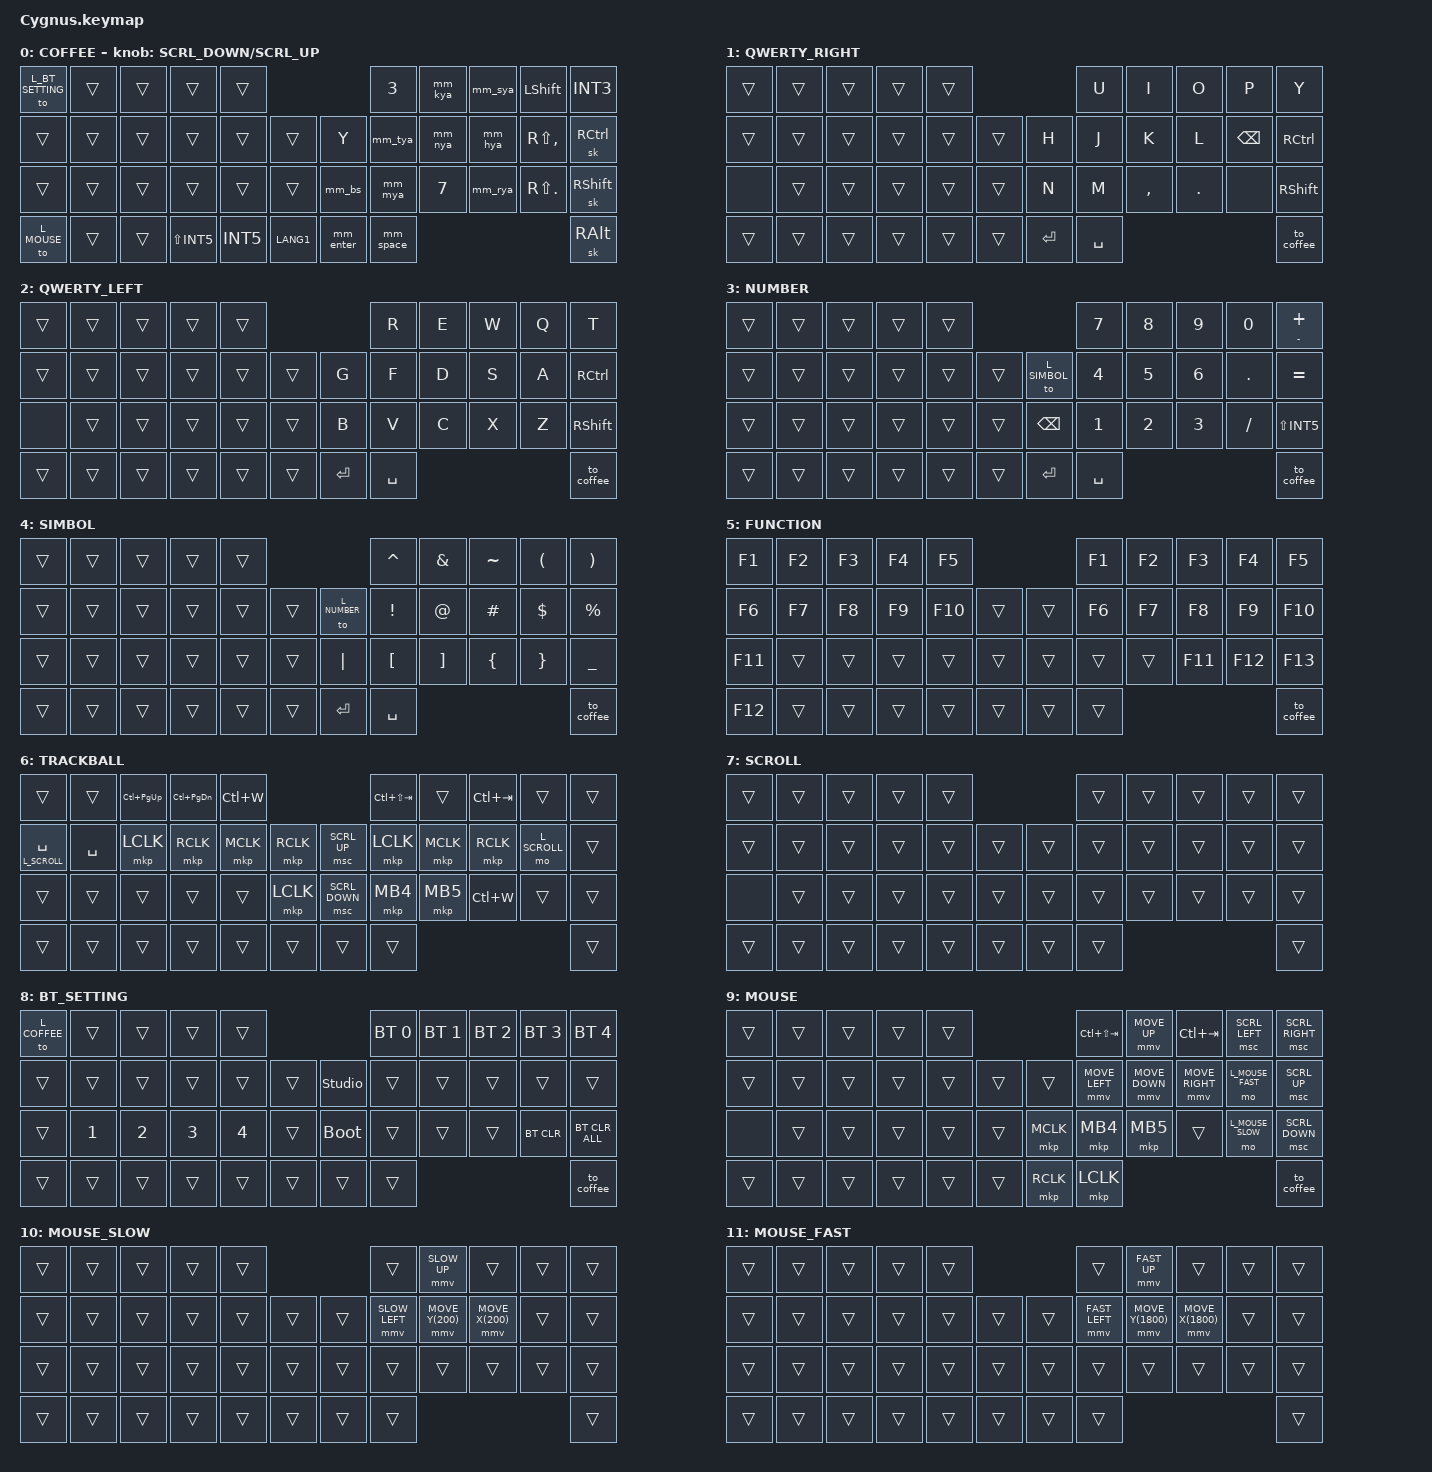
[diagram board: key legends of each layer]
#define ZMK_POINTING_DEFAULT_SCRL_VAL 120    // default: 10

#include <behaviors.dtsi>
#include <dt-bindings/zmk/bt.h>
#include <dt-bindings/zmk/keys.h>
#include <dt-bindings/zmk/pointing.h>

// 珈琲配列
#define L_COFFEE                  0
#define L_QWERTY_RIGHT            1
#define L_QWERTY_LEFT             2
#define L_NUMBER                  3
#define L_SIMBOL                  4
#define L_FUNCTION                5
#define L_TRACKBALL               6
#define L_SCROLL                  7
#define L_BT_SETTING              8

// マウスレイヤー
#define L_MOUSE                   9
#define L_MOUSE_SLOW             10
#define L_MOUSE_FAST             11

// カーソル速度（標準は MOVE_UP 等の 600）
#define SLOW_UP     MOVE_Y(-200)
#define SLOW_DOWN   MOVE_Y(200)
#define SLOW_LEFT   MOVE_X(-200)
#define SLOW_RIGHT  MOVE_X(200)

#define FAST_UP     MOVE_Y(-1800)
#define FAST_DOWN   MOVE_Y(1800)
#define FAST_LEFT   MOVE_X(-1800)
#define FAST_RIGHT  MOVE_X(1800)

// 拗音の小書き文字（JISかな: Shift+7/8/9）
#define SM_YA  RS(N7)                 // ゃ
#define SM_YU  RS(N8)                 // ゅ
#define SM_YO  RS(N9)                 // ょ



&mt {
    flavor = "balanced";
    quick-tap-ms = <0>;
};

/ {



    combos {
        compatible = "zmk,combos";

    // ---- 50音 ----
    // ---- あ行 (5) ----
        combo_i {
            timeout-ms    = <50>;
            key-positions = <5 40>;             // 5 + 40 → い
            bindings      = <&kp E>;
            layers        = <L_COFFEE>;
        };
        combo_u {
            timeout-ms    = <50>;
            key-positions = <5 20>;             // 5 + 20 → う
            bindings      = <&kp N4>;
            layers        = <L_COFFEE>;
        };
        combo_e {
            timeout-ms    = <50>;
            key-positions = <5 41>;             // 5 + 41 → え
            bindings      = <&kp N5>;
            layers        = <L_COFFEE>;
        };
        combo_o {
            timeout-ms    = <50>;
            key-positions = <5 32>;             // 5 + 32 → お
            bindings      = <&kp N6>;
            layers        = <L_COFFEE>;
        };

    // ---- か行 (6) ----
        combo_ki {
            timeout-ms    = <50>;
            key-positions = <6 40>;             // 6 + 40 → き
            bindings      = <&kp G>;
            layers        = <L_COFFEE>;
        };
        combo_ku {
            timeout-ms    = <50>;
            key-positions = <6 20>;             // 6 + 20 → く / 右Shift待機: きゅ
            bindings      = <&mm_kyu>;
            layers        = <L_COFFEE>;
        };
        combo_ke {
            timeout-ms    = <50>;
            key-positions = <6 41>;             // 6 + 41 → け
            bindings      = <&kp SQT>;
            layers        = <L_COFFEE>;
        };
        combo_ko {
            timeout-ms    = <50>;
            key-positions = <6 32>;             // 6 + 32 → こ / 右Shift待機: きょ
            bindings      = <&mm_kyo>;
            layers        = <L_COFFEE>;
        };

    // ---- さ行 (7) ----
        combo_shi {
            timeout-ms    = <50>;
            key-positions = <7 40>;             // 7 + 40 → し
            bindings      = <&kp D>;
            layers        = <L_COFFEE>;
        };
        combo_su {
            timeout-ms    = <50>;
            key-positions = <7 20>;             // 7 + 20 → す / 右Shift待機: しゅ
            bindings      = <&mm_syu>;
            layers        = <L_COFFEE>;
        };
        combo_se {
            timeout-ms    = <50>;
            key-positions = <7 41>;             // 7 + 41 → せ
            bindings      = <&kp P>;
            layers        = <L_COFFEE>;
        };
        combo_so {
            timeout-ms    = <50>;
            key-positions = <7 32>;             // 7 + 32 → そ / 右Shift待機: しょ
            bindings      = <&mm_syo>;
            layers        = <L_COFFEE>;
        };

    // ---- た行 (17) ----
        combo_chi {
            timeout-ms    = <50>;
            key-positions = <17 40>;            // 17 + 40 → ち
            bindings      = <&kp A>;
            layers        = <L_COFFEE>;
        };
        combo_tsu {
            timeout-ms    = <50>;
            key-positions = <17 20>;            // 17 + 20 → つ / 右Shift待機: ちゅ
            bindings      = <&mm_tyu>;
            layers        = <L_COFFEE>;
        };
        combo_te {
            timeout-ms    = <50>;
            key-positions = <17 41>;            // 17 + 41 → て
            bindings      = <&kp W>;
            layers        = <L_COFFEE>;
        };
        combo_to {
            timeout-ms    = <50>;
            key-positions = <17 32>;            // 17 + 32 → と / 右Shift待機: ちょ
            bindings      = <&mm_tyo>;
            layers        = <L_COFFEE>;
        };

    // ---- な行 (18) ----
        combo_ni {
            timeout-ms    = <50>;
            key-positions = <18 40>;            // 18 + 40 → に
            bindings      = <&kp I>;
            layers        = <L_COFFEE>;
        };
        combo_nu {
            timeout-ms    = <50>;
            key-positions = <18 20>;            // 18 + 20 → ぬ / 右Shift待機: にゅ
            bindings      = <&mm_nyu>;
            layers        = <L_COFFEE>;
        };
        combo_ne {
            timeout-ms    = <50>;
            key-positions = <18 41>;            // 18 + 41 → ね
            bindings      = <&kp COMMA>;
            layers        = <L_COFFEE>;
        };
        combo_no {
            timeout-ms    = <50>;
            key-positions = <18 32>;            // 18 + 32 → の / 右Shift待機: にょ
            bindings      = <&mm_nyo>;
            layers        = <L_COFFEE>;
        };

    // ---- は行 (19) ----
        combo_hi {
            timeout-ms    = <50>;
            key-positions = <19 40>;            // 19 + 40 → ひ
            bindings      = <&kp V>;
            layers        = <L_COFFEE>;
        };
        combo_fu {
            timeout-ms    = <50>;
            key-positions = <19 20>;            // 19 + 20 → ふ / 右Shift待機: ひゅ
            bindings      = <&mm_hyu>;
            layers        = <L_COFFEE>;
        };
        combo_he {
            timeout-ms    = <50>;
            key-positions = <19 41>;            // 19 + 41 → へ
            bindings      = <&kp EQUAL>;
            layers        = <L_COFFEE>;
        };
        combo_ho {
            timeout-ms    = <50>;
            key-positions = <19 32>;            // 19 + 32 → ほ / 右Shift待機: ひょ
            bindings      = <&mm_hyo>;
            layers        = <L_COFFEE>;
        };

    // ---- ま行 (29) ----
        combo_mi {
            timeout-ms    = <50>;
            key-positions = <29 40>;            // 29 + 40 → み
            bindings      = <&kp N>;
            layers        = <L_COFFEE>;
        };
        combo_mu {
            timeout-ms    = <50>;
            key-positions = <29 20>;            // 29 + 20 → む / 右Shift待機: みゅ
            bindings      = <&mm_myu>;
            layers        = <L_COFFEE>;
        };
        combo_me {
            timeout-ms    = <50>;
            key-positions = <29 41>;            // 29 + 41 → め
            bindings      = <&kp SLASH>;
            layers        = <L_COFFEE>;
        };
        combo_mo {
            timeout-ms    = <50>;
            key-positions = <29 32>;            // 29 + 32 → も / 右Shift待機: みょ
            bindings      = <&mm_myo>;
            layers        = <L_COFFEE>;
        };

    // ---- や行 (30) ----
        combo_yu {
            timeout-ms    = <50>;
            key-positions = <30 20>;            // 30 + 20 → ゆ
            bindings      = <&kp N8>;
            layers        = <L_COFFEE>;
        };
        combo_yo {
            timeout-ms    = <50>;
            key-positions = <30 32>;            // 30 + 32 → よ
            bindings      = <&kp N9>;
            layers        = <L_COFFEE>;
        };

    // ---- ら行 (31) ----
        combo_ri {
            timeout-ms    = <50>;
            key-positions = <31 40>;            // 31 + 40 → り
            bindings      = <&kp L>;
            layers        = <L_COFFEE>;
        };
        combo_ru {
            timeout-ms    = <50>;
            key-positions = <31 20>;            // 31 + 20 → る / 右Shift待機: りゅ
            bindings      = <&mm_ryu>;
            layers        = <L_COFFEE>;
        };
        combo_re {
            timeout-ms    = <50>;
            key-positions = <31 41>;            // 31 + 41 → れ
            bindings      = <&kp SEMICOLON>;
            layers        = <L_COFFEE>;
        };
        combo_ro {
            timeout-ms    = <50>;
            key-positions = <31 32>;            // 31 + 32 → ろ / 右Shift待機: りょ
            bindings      = <&mm_ryo>;
            layers        = <L_COFFEE>;
        };

    // ---- わ行：N0 ----
        combo_wa {
            timeout-ms    = <50>;
            key-positions = <16 40>;            // 16 + 40 → わ
            bindings      = <&kp N0>;
            layers        = <L_COFFEE>;
        };
        combo_wo {
            timeout-ms    = <50>;
            key-positions = <16 41>;            // 16 + 41 → を
            bindings      = <&kp RS(N0)>;
            layers        = <L_COFFEE>;
        };

    // ---- 濁点系：BACKSPACE (28) + 清音キー [+ 母音キー] ----
    // 母音キー: 40=い段(⏎) / 20=う段(、) / 41=え段(␣) / 32=お段(。)

    // ---- が行 (6) ----
        combo_ga {
            timeout-ms    = <50>;
            key-positions = <28 6>;             // 28 + 6 → が / 右Shift待機: ぎゃ
            bindings      = <&mm_gya>;
            layers        = <L_COFFEE>;
        };
        combo_gi {
            timeout-ms    = <50>;
            key-positions = <28 6 40>;          // 28 + 6 + 40 → ぎ
            bindings      = <&dkt G>;
            layers        = <L_COFFEE>;
        };
        combo_gu {
            timeout-ms    = <50>;
            key-positions = <28 6 20>;          // 28 + 6 + 20 → ぐ / 右Shift待機: ぎゅ
            bindings      = <&mm_gyu>;
            layers        = <L_COFFEE>;
        };
        combo_ge {
            timeout-ms    = <50>;
            key-positions = <28 6 41>;          // 28 + 6 + 41 → げ
            bindings      = <&dkt SQT>;
            layers        = <L_COFFEE>;
        };
        combo_go {
            timeout-ms    = <50>;
            key-positions = <28 6 32>;          // 28 + 6 + 32 → ご / 右Shift待機: ぎょ
            bindings      = <&mm_gyo>;
            layers        = <L_COFFEE>;
        };

    // ---- ざ行 (7) ----
        combo_za {
            timeout-ms    = <50>;
            key-positions = <28 7>;             // 28 + 7 → ざ / 右Shift待機: じゃ
            bindings      = <&mm_zya>;
            layers        = <L_COFFEE>;
        };
        combo_ji {
            timeout-ms    = <50>;
            key-positions = <28 7 40>;          // 28 + 7 + 40 → じ
            bindings      = <&dkt D>;
            layers        = <L_COFFEE>;
        };
        combo_zu {
            timeout-ms    = <50>;
            key-positions = <28 7 20>;          // 28 + 7 + 20 → ず / 右Shift待機: じゅ
            bindings      = <&mm_zyu>;
            layers        = <L_COFFEE>;
        };
        combo_ze {
            timeout-ms    = <50>;
            key-positions = <28 7 41>;          // 28 + 7 + 41 → ぜ
            bindings      = <&dkt P>;
            layers        = <L_COFFEE>;
        };
        combo_zo {
            timeout-ms    = <50>;
            key-positions = <28 7 32>;          // 28 + 7 + 32 → ぞ / 右Shift待機: じょ
            bindings      = <&mm_zyo>;
            layers        = <L_COFFEE>;
        };

    // ---- だ行 (17) ----
        combo_da {
            timeout-ms    = <50>;
            key-positions = <28 17>;            // 28 + 17 → だ / 右Shift待機: ぢゃ
            bindings      = <&mm_dya>;
            layers        = <L_COFFEE>;
        };
        combo_di {
            timeout-ms    = <50>;
            key-positions = <28 17 40>;         // 28 + 17 + 40 → ぢ
            bindings      = <&dkt A>;
            layers        = <L_COFFEE>;
        };
        combo_du {
            timeout-ms    = <50>;
            key-positions = <28 17 20>;         // 28 + 17 + 20 → づ / 右Shift待機: ぢゅ
            bindings      = <&mm_dyu>;
            layers        = <L_COFFEE>;
        };
        combo_de {
            timeout-ms    = <50>;
            key-positions = <28 17 41>;         // 28 + 17 + 41 → で
            bindings      = <&dkt W>;
            layers        = <L_COFFEE>;
        };
        combo_do {
            timeout-ms    = <50>;
            key-positions = <28 17 32>;         // 28 + 17 + 32 → ど / 右Shift待機: ぢょ
            bindings      = <&mm_dyo>;
            layers        = <L_COFFEE>;
        };

    // ---- ば行・ぱ行 (19) ※右Ctrl(sticky)を先に押すとぱ行 ----
        combo_ba {
            timeout-ms    = <50>;
            key-positions = <28 19>;            // 28 + 19 → ば / 右Ctrl待機: ぱ
            bindings      = <&mm_ba>;
            layers        = <L_COFFEE>;
        };
        combo_bi {
            timeout-ms    = <50>;
            key-positions = <28 19 40>;         // 28 + 19 + 40 → び / 右Ctrl待機: ぴ
            bindings      = <&mm_bi>;
            layers        = <L_COFFEE>;
        };
        combo_bu {
            timeout-ms    = <50>;
            key-positions = <28 19 20>;         // 28 + 19 + 20 → ぶ / 右Ctrl待機: ぷ
            bindings      = <&mm_bu>;
            layers        = <L_COFFEE>;
        };
        combo_be {
            timeout-ms    = <50>;
            key-positions = <28 19 41>;         // 28 + 19 + 41 → べ / 右Ctrl待機: ぺ
            bindings      = <&mm_be>;
            layers        = <L_COFFEE>;
        };
        combo_bo {
            timeout-ms    = <50>;
            key-positions = <28 19 32>;         // 28 + 19 + 32 → ぼ / 右Ctrl待機: ぽ
            bindings      = <&mm_bo>;
            layers        = <L_COFFEE>;
        };

    // ---- 濁点・半濁点：LSHFT (8) ----
        combo_dakuten {
            timeout-ms    = <50>;
            key-positions = <8 40>;             // 8 + 40 → ゛
            bindings      = <&kp LEFT_BRACKET>;
            layers        = <L_COFFEE>;
        };
        combo_handakuten {
            timeout-ms    = <50>;
            key-positions = <8 41>;             // 8 + 41 → ゜
            bindings      = <&kp RIGHT_BRACKET>;
            layers        = <L_COFFEE>;
        };

    // ---- 「 」：、(20) ----
        combo_kagi_open {
            timeout-ms    = <50>;
            key-positions = <20 40>;            // 20 + 40 → 「
            bindings      = <&kp RS(RBKT)>;
            layers        = <L_COFFEE>;
        };
        combo_kagi_close {
            timeout-ms    = <50>;
            key-positions = <20 41>;            // 20 + 41 → 」
            bindings      = <&kp RS(NUHS)>;
            layers        = <L_COFFEE>;
        };

    // ---- （ ）：RS(DOT) (32)   🟥🟥🟥 保留中...マクロが必要な模様 🟥🟥🟥

    // ---- ！･？ = Y (16) ----
        combo_exclam {
            timeout-ms    = <50>;
            key-positions = <16 20>;            // 16 + 20 → ！
            bindings      = <&kp RS(N1)>;
            layers        = <L_COFFEE>;
        };
        combo_question {
            timeout-ms    = <50>;
            key-positions = <16 32>;            // 16 + 32 → ？   🟥🟥🟥 要確認...現状｢・」が出力 🟥🟥🟥
            bindings      = <&kp RS(FSLH)>;
            layers        = <L_COFFEE>;
        };

    // ---- ←･→･↑･↓ = BACKSPACE (28) ----
    // 右Ctrl/右Shift/右Alt(sticky)を先に押すと、behaviors側(A)のmm_*でコマンド系に切替
        combo_cursor_left {
            timeout-ms    = <50>;
            key-positions = <28 40>;            // 28 + 40 → ← (長押し: Home) / 右Ctrl待機: Ctrl+C ほか
            bindings      = <&mm_cursor_left>;
            layers        = <L_COFFEE>;
        };
        combo_cursor_right {
            timeout-ms    = <50>;
            key-positions = <28 41>;            // 28 + 41 → → (長押し: End) / 右Ctrl待機: Ctrl+V ほか
            bindings      = <&mm_cursor_right>;
            layers        = <L_COFFEE>;
        };
        combo_cursor_up {
            timeout-ms    = <50>;
            key-positions = <28 20>;            // 28 + 20 → ↑ (長押し: Ctrl+Z) / 右Ctrl待機: Ctrl+X ほか
            bindings      = <&mm_cursor_up>;
            layers        = <L_COFFEE>;
        };
        combo_cursor_down {
            timeout-ms    = <50>;
            key-positions = <28 32>;            // 28 + 32 → ↓ (長押し: Ctrl+A) / 右Ctrl待機: Win+V ほか
            bindings      = <&mm_cursor_down>;
            layers        = <L_COFFEE>;
        };

    };



    macros {
    // 濁点: 渡したキー + ゛(LEFT_BRACKET)
        dkt: dkt {
            compatible = "zmk,behavior-macro-one-param";
            label = "DKT";
            #binding-cells = <1>;
            wait-ms = <10>;
            tap-ms  = <10>;
            bindings = <&macro_param_1to1>, <&macro_tap &kp MACRO_PLACEHOLDER &kp LEFT_BRACKET>;
        };

    // 半濁点: 渡したキー + ゜(RIGHT_BRACKET)
        hdk: hdk {
            compatible = "zmk,behavior-macro-one-param";
            label = "HDK";
            #binding-cells = <1>;
            wait-ms = <10>;
            tap-ms  = <10>;
            bindings = <&macro_param_1to1>, <&macro_tap &kp MACRO_PLACEHOLDER &kp RIGHT_BRACKET>;
        };

    // 拗音: 渡した2キーを順に打つ（例: &yoon G SM_YA → きゃ）
        yoon: yoon {
            compatible = "zmk,behavior-macro-two-param";
            label = "YOON";
            #binding-cells = <2>;
            wait-ms = <10>;
            tap-ms  = <10>;
            bindings = <&macro_param_1to1>, <&macro_tap &kp MACRO_PLACEHOLDER>,
                       <&macro_param_2to1>, <&macro_tap &kp MACRO_PLACEHOLDER>;
        };

    // 濁音拗音: 1キー目 + ゛(LEFT_BRACKET) + 2キー目（例: &yoon_dk G SM_YA → ぎゃ）
        yoon_dk: yoon_dk {
            compatible = "zmk,behavior-macro-two-param";
            label = "YOON_DK";
            #binding-cells = <2>;
            wait-ms = <10>;
            tap-ms  = <10>;
            bindings = <&macro_param_1to1>, <&macro_tap &kp MACRO_PLACEHOLDER &kp LEFT_BRACKET>,
                       <&macro_param_2to1>, <&macro_tap &kp MACRO_PLACEHOLDER>;
        };

    // 半濁音拗音: 1キー目 + ゜(RIGHT_BRACKET) + 2キー目（例: &yoon_hd V SM_YA → ぴゃ）
        yoon_hd: yoon_hd {
            compatible = "zmk,behavior-macro-two-param";
            label = "YOON_HD";
            #binding-cells = <2>;
            wait-ms = <10>;
            tap-ms  = <10>;
            bindings = <&macro_param_1to1>, <&macro_tap &kp MACRO_PLACEHOLDER &kp RIGHT_BRACKET>,
                       <&macro_param_2to1>, <&macro_tap &kp MACRO_PLACEHOLDER>;
        };

    // COFFEEレイヤーへ戻る + 入力モードをかな(LANG1)に切替
        to_coffee: to_coffee {
            compatible = "zmk,behavior-macro";
            label = "TO_COFFEE";
            #binding-cells = <0>;
            wait-ms = <10>;
            tap-ms  = <10>;
            bindings = <&macro_tap &to L_COFFEE &kp LANG1>;
        };

    // レイヤー移動(引数) + 入力モードをIMEオフ(INT5)に切替
        to_ime_off: to_ime_off {
            compatible = "zmk,behavior-macro-one-param";
            label = "TO_IME_OFF";
            #binding-cells = <1>;
            wait-ms = <10>;
            tap-ms  = <10>;
            bindings = <&macro_param_1to1>, <&macro_tap &to MACRO_PLACEHOLDER &kp INT5>;
        };

    };



    behaviors {

        ROTATE: ROTATE {
            compatible = "zmk,behavior-sensor-rotate-var";
            label = "ROTATE";
            #sensor-binding-cells = <2>;
            bindings = <&msc>, <&msc>;

            tap-ms = <20>;
        };

    // タップ=キー、ホールド=別キー（コンボ用。タップ優先＝重なり打ちでホールドに誤判定しない）
        ht_kp: hold_tap_kp {
            compatible = "zmk,behavior-hold-tap";
            label = "HOLD_TAP_KP";
            #binding-cells = <2>;
            flavor = "tap-preferred";
            tapping-term-ms = <250>;
            bindings = <&kp>, <&kp>;        // 1番目=ホールド、2番目=タップ
        };

    // タップ=キー、ホールド=レイヤーへ移動 + INT5（離しても滞在）
        ht_to: hold_tap_to {
            compatible = "zmk,behavior-hold-tap";
            label = "HOLD_TAP_TO";
            #binding-cells = <2>;
            flavor = "tap-preferred";
            tapping-term-ms = <200>;
            bindings = <&to_ime_off>, <&kp>;    // 1番目=ホールド(移動+INT5)、2番目=タップ
        };

    // ======================================================================
    // A. combo(28+各キー)用: 右Ctrl/右Shift/右Alt(sticky)待機中にコマンド系へ切替
    //    判定順: 右Ctrl待機 → コピペ系 / 右Shift待機 → ウィンドウ操作系 / 右Alt待機 → Ctrl+F / なし → カーソル系
    //    命名: 外側(comboから呼ぶ入口)=機能名 mm_cursor_* / 内側=判定する修飾キー mm_rs_*(右Shift)・mm_ra_*(右Alt)
    // ======================================================================

    // ---- 外側(入口): 右Ctrl待機中ならコピペ系、それ以外は内側1(右Shift判定)へ ----
        mm_cursor_left: mm_cursor_left {
            compatible = "zmk,behavior-mod-morph";
            label = "MM_CURSOR_LEFT";
            #binding-cells = <0>;
            bindings = <&mm_rs_left>, <&kp C>;              // 40: 右Ctrl待機=Ctrl+C / それ以外は内側へ
            mods = <(MOD_RCTL)>;
            keep-mods = <(MOD_RCTL)>;                       // 右Ctrlを残す
        };

        mm_cursor_right: mm_cursor_right {
            compatible = "zmk,behavior-mod-morph";
            label = "MM_CURSOR_RIGHT";
            #binding-cells = <0>;
            bindings = <&mm_rs_right>, <&kp V>;             // 41: 右Ctrl待機=Ctrl+V / それ以外は内側へ
            mods = <(MOD_RCTL)>;
            keep-mods = <(MOD_RCTL)>;
        };

        mm_cursor_up: mm_cursor_up {
            compatible = "zmk,behavior-mod-morph";
            label = "MM_CURSOR_UP";
            #binding-cells = <0>;
            bindings = <&mm_rs_up>, <&kp X>;                // 20: 右Ctrl待機=Ctrl+X / それ以外は内側へ
            mods = <(MOD_RCTL)>;
            keep-mods = <(MOD_RCTL)>;
        };

        mm_cursor_down: mm_cursor_down {
            compatible = "zmk,behavior-mod-morph";
            label = "MM_CURSOR_DOWN";
            #binding-cells = <0>;
            bindings = <&mm_rs_down>, <&kp RG(V)>;          // 32: 右Ctrl待機=Win+V / それ以外は内側へ
            mods = <(MOD_RCTL)>;                            // keep-modsなし → 右Ctrlを外してWin+Vだけ出す
        };

    // ---- 内側1(RS): 右Shift待機中ならウィンドウ操作系、なければ内側2(右Alt判定)へ ----
        mm_rs_left: mm_rs_left {
            compatible = "zmk,behavior-mod-morph";
            label = "MM_RS_LEFT";
            #binding-cells = <0>;
            bindings = <&mm_ra_left>, <&kp RC(RS(TAB))>;    // 40: 右Shift待機=Ctrl+Shift+Tab / それ以外は内側2へ
            mods = <(MOD_RSFT)>;                            // keep-modsなし → 右Shiftを外して明示指定を出す
        };

        mm_rs_right: mm_rs_right {
            compatible = "zmk,behavior-mod-morph";
            label = "MM_RS_RIGHT";
            #binding-cells = <0>;
            bindings = <&mm_ra_right>, <&kp RC(TAB)>;       // 41: 右Shift待機=Ctrl+Tab / それ以外は内側2へ
            mods = <(MOD_RSFT)>;
        };

        mm_rs_up: mm_rs_up {
            compatible = "zmk,behavior-mod-morph";
            label = "MM_RS_UP";
            #binding-cells = <0>;
            bindings = <&mm_ra_up>, <&kp RG(TAB)>;          // 20: 右Shift待機=Win+Tab / それ以外は内側2へ
            mods = <(MOD_RSFT)>;
        };

        mm_rs_down: mm_rs_down {
            compatible = "zmk,behavior-mod-morph";
            label = "MM_RS_DOWN";
            #binding-cells = <0>;
            bindings = <&mm_ra_down>, <&kp RG(D)>;          // 32: 右Shift待機=Win+D / それ以外は内側2へ
            mods = <(MOD_RSFT)>;
        };

    // ---- 内側2(RA): 右Alt待機中ならCtrl+F、なければカーソル系 ----
        mm_ra_left: mm_ra_left {
            compatible = "zmk,behavior-mod-morph";
            label = "MM_RA_LEFT";
            #binding-cells = <0>;
            bindings = <&mt HOME LEFT>, <&kp RC(F)>;        // 40: ← (長押しHome) / 🟦暫定 Ctrl+F 出力
            mods = <(MOD_RALT)>;                            // keep-modsなし → 右Altを外してCtrl+Fだけ出す
        };

        mm_ra_right: mm_ra_right {
            compatible = "zmk,behavior-mod-morph";
            label = "MM_RA_RIGHT";
            #binding-cells = <0>;
            bindings = <&mt END RIGHT>, <&kp RC(F)>;        // 41: → (長押しEnd) / 🟦暫定 Ctrl+F 出力
            mods = <(MOD_RALT)>;
        };

        mm_ra_up: mm_ra_up {
            compatible = "zmk,behavior-mod-morph";
            label = "MM_RA_UP";
            #binding-cells = <0>;
            bindings = <&mt RC(Z) UP>, <&kp RC(F)>;         // 20: ↑ (長押しCtrl+Z) / 🟦暫定 Ctrl+F 出力
            mods = <(MOD_RALT)>;
        };

        mm_ra_down: mm_ra_down {
            compatible = "zmk,behavior-mod-morph";
            label = "MM_RA_DOWN";
            #binding-cells = <0>;
            bindings = <&mt RC(A) DOWN>, <&kp RC(F)>;       // 32: ↓ (長押しCtrl+A) / 🟦暫定 Ctrl+F 出力
            mods = <(MOD_RALT)>;
        };

    // ======================================================================
    // B. 単独キー(28・40・41番)用: 右Ctrl/右Shift/右Alt(sticky)待機中に出力を切替
    //    命名: 入口(キーマップから呼ぶ)=機能名 mm_bs・mm_enter・mm_space / 内側=判定する修飾キー
    // ======================================================================

    // ---- 28番: 右Ctrl待機=Tab / 右Shift・右Alt待機=Ctrl+F / それ以外はBackspace ----
        mm_bs: mm_bs {
            compatible = "zmk,behavior-mod-morph";
            label = "MM_BS";
            #binding-cells = <0>;
            bindings = <&mm_bs_in>, <&kp TAB>;              // 28: 右Ctrl待機=Tab / それ以外は内側へ
            mods = <(MOD_RCTL)>;                            // keep-modsなし → 右Ctrlを外してTabだけ出す
        };

        mm_bs_in: mm_bs_in {
            compatible = "zmk,behavior-mod-morph";
            label = "MM_BS_IN";
            #binding-cells = <0>;
            bindings = <&kp BACKSPACE>, <&kp RC(F)>;        // 28: BS / 🟦暫定 右Shift・右Alt待機=Ctrl+F
            mods = <(MOD_RSFT|MOD_RALT)>;
        };

    // ---- 40番: 右Ctrl待機=ESC / 右Shift待機=Ctrl+F / 右Alt待機=F8 / それ以外はEnter(長押しNUMBER) ----
        mm_enter: mm_enter {
            compatible = "zmk,behavior-mod-morph";
            label = "MM_ENTER";
            #binding-cells = <0>;
            bindings = <&mm_enter_rs>, <&kp ESC>;           // 40: 右Ctrl待機=ESC / それ以外は内側1へ
            mods = <(MOD_RCTL)>;
        };

        mm_enter_rs: mm_enter_rs {
            compatible = "zmk,behavior-mod-morph";
            label = "MM_ENTER_RS";
            #binding-cells = <0>;
            bindings = <&mm_enter_ra>, <&kp RC(F)>;         // 40: 右Shift待機=🟦暫定 Ctrl+F / それ以外は内側2へ
            mods = <(MOD_RSFT)>;
        };

        mm_enter_ra: mm_enter_ra {
            compatible = "zmk,behavior-mod-morph";
            label = "MM_ENTER_RA";
            #binding-cells = <0>;
            bindings = <&ht_to L_NUMBER ENTER>, <&kp F8>;   // 40: Enter(長押しNUMBER) / 右Alt待機=F8
            mods = <(MOD_RALT)>;
        };

    // ======================================================================
    // C. combo(28+は行)用: 右Ctrl(sticky)待機中は半濁点(ぱ行)、なければ濁点(ば行)
    // ======================================================================

        mm_bi: mm_bi {
            compatible = "zmk,behavior-mod-morph";
            label = "MM_BI";
            #binding-cells = <0>;
            bindings = <&dkt V>, <&hdk V>;                  // ひ: び / 右Ctrl待機=ぴ
            mods = <(MOD_RCTL)>;
        };

        mm_be: mm_be {
            compatible = "zmk,behavior-mod-morph";
            label = "MM_BE";
            #binding-cells = <0>;
            bindings = <&dkt EQUAL>, <&hdk EQUAL>;          // へ: べ / 右Ctrl待機=ぺ
            mods = <(MOD_RCTL)>;
        };

    // ======================================================================
    // D. 拗音(1): 行キー単独(6/7/17/18/19/29/31番)用 → キーマップのCOFFEEレイヤーから直接呼ぶ
    //    右Shift(sticky)待機中は拗音(ゃ)、なければ元の清音
    // ======================================================================
        mm_kya: mm_kya {
            compatible = "zmk,behavior-mod-morph";
            label = "MM_KYA";
            #binding-cells = <0>;
            bindings = <&kp T>, <&yoon G SM_YA>;            // 6: か / 右Shift待機=きゃ
            mods = <(MOD_RSFT)>;                            // keep-modsなし → 右Shiftを外して出力
        };

        mm_sya: mm_sya {
            compatible = "zmk,behavior-mod-morph";
            label = "MM_SYA";
            #binding-cells = <0>;
            bindings = <&kp X>, <&yoon D SM_YA>;            // 7: さ / 右Shift待機=しゃ
            mods = <(MOD_RSFT)>;
        };

        mm_tya: mm_tya {
            compatible = "zmk,behavior-mod-morph";
            label = "MM_TYA";
            #binding-cells = <0>;
            bindings = <&kp Q>, <&yoon A SM_YA>;            // 17: た / 右Shift待機=ちゃ
            mods = <(MOD_RSFT)>;
        };

        mm_nya: mm_nya {
            compatible = "zmk,behavior-mod-morph";
            label = "MM_NYA";
            #binding-cells = <0>;
            bindings = <&kp U>, <&yoon I SM_YA>;            // 18: な / 右Shift待機=にゃ
            mods = <(MOD_RSFT)>;
        };

        mm_hya: mm_hya {
            compatible = "zmk,behavior-mod-morph";
            label = "MM_HYA";
            #binding-cells = <0>;
            bindings = <&kp F>, <&yoon V SM_YA>;            // 19: は / 右Shift待機=ひゃ
            mods = <(MOD_RSFT)>;
        };

        mm_mya: mm_mya {
            compatible = "zmk,behavior-mod-morph";
            label = "MM_MYA";
            #binding-cells = <0>;
            bindings = <&kp J>, <&yoon N SM_YA>;            // 29: ま / 右Shift待機=みゃ
            mods = <(MOD_RSFT)>;
        };

        mm_rya: mm_rya {
            compatible = "zmk,behavior-mod-morph";
            label = "MM_RYA";
            #binding-cells = <0>;
            bindings = <&kp O>, <&yoon L SM_YA>;            // 31: ら / 右Shift待機=りゃ
            mods = <(MOD_RSFT)>;
        };

    // ======================================================================
    // E. 拗音(2): 行キー+20番(ゅ)/32番(ょ)のcombo用 → 既存の清音comboから呼ぶ
    //    右Shift(sticky)待機中は拗音、なければ元の清音(く・こ ほか)
    // ======================================================================
        mm_kyu: mm_kyu {
            compatible = "zmk,behavior-mod-morph";
            label = "MM_KYU";
            #binding-cells = <0>;
            bindings = <&kp H>, <&yoon G SM_YU>;            // 6+20: く / 右Shift待機=きゅ
            mods = <(MOD_RSFT)>;
        };

        mm_kyo: mm_kyo {
            compatible = "zmk,behavior-mod-morph";
            label = "MM_KYO";
            #binding-cells = <0>;
            bindings = <&kp B>, <&yoon G SM_YO>;            // 6+32: こ / 右Shift待機=きょ
            mods = <(MOD_RSFT)>;
        };

        mm_syu: mm_syu {
            compatible = "zmk,behavior-mod-morph";
            label = "MM_SYU";
            #binding-cells = <0>;
            bindings = <&kp R>, <&yoon D SM_YU>;            // 7+20: す / 右Shift待機=しゅ
            mods = <(MOD_RSFT)>;
        };

        mm_syo: mm_syo {
            compatible = "zmk,behavior-mod-morph";
            label = "MM_SYO";
            #binding-cells = <0>;
            bindings = <&kp C>, <&yoon D SM_YO>;            // 7+32: そ / 右Shift待機=しょ
            mods = <(MOD_RSFT)>;
        };

        mm_tyu: mm_tyu {
            compatible = "zmk,behavior-mod-morph";
            label = "MM_TYU";
            #binding-cells = <0>;
            bindings = <&kp Z>, <&yoon A SM_YU>;            // 17+20: つ / 右Shift待機=ちゅ
            mods = <(MOD_RSFT)>;
        };

        mm_tyo: mm_tyo {
            compatible = "zmk,behavior-mod-morph";
            label = "MM_TYO";
            #binding-cells = <0>;
            bindings = <&kp S>, <&yoon A SM_YO>;            // 17+32: と / 右Shift待機=ちょ
            mods = <(MOD_RSFT)>;
        };

        mm_nyu: mm_nyu {
            compatible = "zmk,behavior-mod-morph";
            label = "MM_NYU";
            #binding-cells = <0>;
            bindings = <&kp N1>, <&yoon I SM_YU>;           // 18+20: ぬ / 右Shift待機=にゅ
            mods = <(MOD_RSFT)>;
        };

        mm_nyo: mm_nyo {
            compatible = "zmk,behavior-mod-morph";
            label = "MM_NYO";
            #binding-cells = <0>;
            bindings = <&kp K>, <&yoon I SM_YO>;            // 18+32: の / 右Shift待機=にょ
            mods = <(MOD_RSFT)>;
        };

        mm_hyu: mm_hyu {
            compatible = "zmk,behavior-mod-morph";
            label = "MM_HYU";
            #binding-cells = <0>;
            bindings = <&kp N2>, <&yoon V SM_YU>;           // 19+20: ふ / 右Shift待機=ひゅ
            mods = <(MOD_RSFT)>;
        };

        mm_hyo: mm_hyo {
            compatible = "zmk,behavior-mod-morph";
            label = "MM_HYO";
            #binding-cells = <0>;
            bindings = <&kp MINUS>, <&yoon V SM_YO>;        // 19+32: ほ / 右Shift待機=ひょ
            mods = <(MOD_RSFT)>;
        };

        mm_myu: mm_myu {
            compatible = "zmk,behavior-mod-morph";
            label = "MM_MYU";
            #binding-cells = <0>;
            bindings = <&kp NON_US_HASH>, <&yoon N SM_YU>;  // 29+20: む / 右Shift待機=みゅ
            mods = <(MOD_RSFT)>;
        };

        mm_myo: mm_myo {
            compatible = "zmk,behavior-mod-morph";
            label = "MM_MYO";
            #binding-cells = <0>;
            bindings = <&kp M>, <&yoon N SM_YO>;            // 29+32: も / 右Shift待機=みょ
            mods = <(MOD_RSFT)>;
        };

        mm_ryu: mm_ryu {
            compatible = "zmk,behavior-mod-morph";
            label = "MM_RYU";
            #binding-cells = <0>;
            bindings = <&kp PERIOD>, <&yoon L SM_YU>;       // 31+20: る / 右Shift待機=りゅ
            mods = <(MOD_RSFT)>;
        };

        mm_ryo: mm_ryo {
            compatible = "zmk,behavior-mod-morph";
            label = "MM_RYO";
            #binding-cells = <0>;
            bindings = <&kp INT1>, <&yoon L SM_YO>;         // 31+32: ろ / 右Shift待機=りょ
            mods = <(MOD_RSFT)>;
        };

    // ======================================================================
    // F. 濁音拗音: ⌫(28番)+行キー[+母音キー]のcombo用（が・ざ・だ行）
    //    右Shift(sticky)待機中は濁音拗音、なければ元の濁音
    // ======================================================================
        mm_gya: mm_gya {
            compatible = "zmk,behavior-mod-morph";
            label = "MM_GYA";
            #binding-cells = <0>;
            bindings = <&dkt T>, <&yoon_dk G SM_YA>;        // 28+6: が / 右Shift待機=ぎゃ
            mods = <(MOD_RSFT)>;
        };

        mm_gyu: mm_gyu {
            compatible = "zmk,behavior-mod-morph";
            label = "MM_GYU";
            #binding-cells = <0>;
            bindings = <&dkt H>, <&yoon_dk G SM_YU>;        // 28+6+20: ぐ / 右Shift待機=ぎゅ
            mods = <(MOD_RSFT)>;
        };

        mm_gyo: mm_gyo {
            compatible = "zmk,behavior-mod-morph";
            label = "MM_GYO";
            #binding-cells = <0>;
            bindings = <&dkt B>, <&yoon_dk G SM_YO>;        // 28+6+32: ご / 右Shift待機=ぎょ
            mods = <(MOD_RSFT)>;
        };

        mm_zya: mm_zya {
            compatible = "zmk,behavior-mod-morph";
            label = "MM_ZYA";
            #binding-cells = <0>;
            bindings = <&dkt X>, <&yoon_dk D SM_YA>;        // 28+7: ざ / 右Shift待機=じゃ
            mods = <(MOD_RSFT)>;
        };

        mm_zyu: mm_zyu {
            compatible = "zmk,behavior-mod-morph";
            label = "MM_ZYU";
            #binding-cells = <0>;
            bindings = <&dkt R>, <&yoon_dk D SM_YU>;        // 28+7+20: ず / 右Shift待機=じゅ
            mods = <(MOD_RSFT)>;
        };

        mm_zyo: mm_zyo {
            compatible = "zmk,behavior-mod-morph";
            label = "MM_ZYO";
            #binding-cells = <0>;
            bindings = <&dkt C>, <&yoon_dk D SM_YO>;        // 28+7+32: ぞ / 右Shift待機=じょ
            mods = <(MOD_RSFT)>;
        };

        mm_dya: mm_dya {
            compatible = "zmk,behavior-mod-morph";
            label = "MM_DYA";
            #binding-cells = <0>;
            bindings = <&dkt Q>, <&yoon_dk A SM_YA>;        // 28+17: だ / 右Shift待機=ぢゃ
            mods = <(MOD_RSFT)>;
        };

        mm_dyu: mm_dyu {
            compatible = "zmk,behavior-mod-morph";
            label = "MM_DYU";
            #binding-cells = <0>;
            bindings = <&dkt Z>, <&yoon_dk A SM_YU>;        // 28+17+20: づ / 右Shift待機=ぢゅ
            mods = <(MOD_RSFT)>;
        };

        mm_dyo: mm_dyo {
            compatible = "zmk,behavior-mod-morph";
            label = "MM_DYO";
            #binding-cells = <0>;
            bindings = <&dkt S>, <&yoon_dk A SM_YO>;        // 28+17+32: ど / 右Shift待機=ぢょ
            mods = <(MOD_RSFT)>;
        };

    // ======================================================================
    // G. ば行・ぱ行・びゃ行・ぴゃ行: ⌫(28番)+は(19番)[+母音キー]のcombo用
    //    ※前回の mm_ba / mm_bu / mm_bo をこの定義に【置き換え】（mm_bi / mm_be はそのまま）
    //    入口(mm_b*)=右Ctrl判定 → 内側(mm_rs_*)=右Shift判定
    //    なし=ば行 / 右Shift=びゃ行 / 右Ctrl=ぱ行 / 右Ctrl→右Shift=ぴゃ行
    // ======================================================================
        mm_ba: mm_ba {
            compatible = "zmk,behavior-mod-morph";
            label = "MM_BA";
            #binding-cells = <0>;
            bindings = <&mm_rs_ba>, <&mm_rs_pa>;            // 28+19: 右Ctrl待機なし=内側(ば系) / あり=内側(ぱ系)
            mods = <(MOD_RCTL)>;                            // keep-modsなし → 右Ctrlを外して出力
        };

        mm_bu: mm_bu {
            compatible = "zmk,behavior-mod-morph";
            label = "MM_BU";
            #binding-cells = <0>;
            bindings = <&mm_rs_bu>, <&mm_rs_pu>;            // 28+19+20: 右Ctrl待機なし=内側(ぶ系) / あり=内側(ぷ系)
            mods = <(MOD_RCTL)>;
        };

        mm_bo: mm_bo {
            compatible = "zmk,behavior-mod-morph";
            label = "MM_BO";
            #binding-cells = <0>;
            bindings = <&mm_rs_bo>, <&mm_rs_po>;            // 28+19+32: 右Ctrl待機なし=内側(ぼ系) / あり=内側(ぽ系)
            mods = <(MOD_RCTL)>;
        };

        mm_rs_ba: mm_rs_ba {
            compatible = "zmk,behavior-mod-morph";
            label = "MM_RS_BA";
            #binding-cells = <0>;
            bindings = <&dkt F>, <&yoon_dk V SM_YA>;        // は: ば / 右Shift待機=びゃ
            mods = <(MOD_RSFT)>;
        };

        mm_rs_pa: mm_rs_pa {
            compatible = "zmk,behavior-mod-morph";
            label = "MM_RS_PA";
            #binding-cells = <0>;
            bindings = <&hdk F>, <&mm_pya>;                 // は: ぱ / 右Shift待機=ぴゃ(右Ctrlも同時マスクするmm_pyaへ)
            mods = <(MOD_RSFT)>;
        };

        mm_rs_bu: mm_rs_bu {
            compatible = "zmk,behavior-mod-morph";
            label = "MM_RS_BU";
            #binding-cells = <0>;
            bindings = <&dkt N2>, <&yoon_dk V SM_YU>;       // ふ: ぶ / 右Shift待機=びゅ
            mods = <(MOD_RSFT)>;
        };

        mm_rs_pu: mm_rs_pu {
            compatible = "zmk,behavior-mod-morph";
            label = "MM_RS_PU";
            #binding-cells = <0>;
            bindings = <&hdk N2>, <&mm_pyu>;                // ふ: ぷ / 右Shift待機=ぴゅ(右Ctrlも同時マスクするmm_pyuへ)
            mods = <(MOD_RSFT)>;
        };

        mm_rs_bo: mm_rs_bo {
            compatible = "zmk,behavior-mod-morph";
            label = "MM_RS_BO";
            #binding-cells = <0>;
            bindings = <&dkt MINUS>, <&yoon_dk V SM_YO>;    // ほ: ぼ / 右Shift待機=びょ
            mods = <(MOD_RSFT)>;
        };

        mm_rs_po: mm_rs_po {
            compatible = "zmk,behavior-mod-morph";
            label = "MM_RS_PO";
            #binding-cells = <0>;
            bindings = <&hdk MINUS>, <&mm_pyo>;             // ほ: ぽ / 右Shift待機=ぴょ(右Ctrlも同時マスクするmm_pyoへ)
            mods = <(MOD_RSFT)>;
        };

    // ---- 右Ctrl+右Shift 両方押下時専用（両方をマスクして出力。ここに来る時点で両方押されている）----
        mm_pya: mm_pya {
            compatible = "zmk,behavior-mod-morph";
            label = "MM_PYA";
            #binding-cells = <0>;
            bindings = <&yoon_hd V SM_YA>, <&yoon_hd V SM_YA>;  // 28+19: 右Ctrl→右Shift待機=ぴゃ
            mods = <(MOD_RCTL|MOD_RSFT)>;                       // 両方マスク
        };

        mm_pyu: mm_pyu {
            compatible = "zmk,behavior-mod-morph";
            label = "MM_PYU";
            #binding-cells = <0>;
            bindings = <&yoon_hd V SM_YU>, <&yoon_hd V SM_YU>;  // 28+19+20: 右Ctrl→右Shift待機=ぴゅ
            mods = <(MOD_RCTL|MOD_RSFT)>;
        };

        mm_pyo: mm_pyo {
            compatible = "zmk,behavior-mod-morph";
            label = "MM_PYO";
            #binding-cells = <0>;
            bindings = <&yoon_hd V SM_YO>, <&yoon_hd V SM_YO>;  // 28+19+32: 右Ctrl→右Shift待機=ぴょ
            mods = <(MOD_RCTL|MOD_RSFT)>;
        };


        // ---- 41番: 右Ctrl・右Alt待機=Ctrl+F / 右Shift待機=全角スペース / それ以外はSpace(長押しQWERTY_RIGHT) ----
        //      判定順: 右Ctrl・右Alt待機 → Ctrl+F / 右Shift待機 → Shift+Space / なし → Space
        mm_space: mm_space {
            compatible = "zmk,behavior-mod-morph";
            label = "MM_SPACE";
            #binding-cells = <0>;
            bindings = <&mm_space_rs>, <&kp RC(F)>;             // 41: 右Ctrl・右Alt待機=🟦暫定 Ctrl+F / それ以外は内側へ
            mods = <(MOD_RCTL|MOD_RALT)>;                       // keep-modsなし → 待機中の修飾キーを外してCtrl+Fだけ出す
        };

        mm_space_rs: mm_space_rs {
            compatible = "zmk,behavior-mod-morph";
            label = "MM_SPACE_RS";
            #binding-cells = <0>;
            bindings = <&ht_to L_QWERTY_RIGHT SPACE>, <&kp LS(SPACE)>;  // 41: Space(長押しQWERTY_RIGHT) / 右Shift待機=Shift+Space(全角スペース)
            mods = <(MOD_RSFT)>;                                // keep-modsなし → 右Shiftを外してShift+Spaceだけ出す
        };

    };



    keymap {
        compatible = "zmk,keymap";

// -------------------------------------------------------------
// 🟩🟩🟩 珈琲配列 🟩🟩🟩
// -------------------------------------------------------------

        COFFEE {         // Layer 0
            bindings = <
&to L_BT_SETTING  &trans  &trans  &trans        &trans                              &kp N3     &mm_kya  &mm_sya  &kp LSHFT      &kp INT3
&trans            &trans  &trans  &trans        &trans    &trans         &kp Y      &mm_tya    &mm_nya  &mm_hya  &kp RS(COMMA)  &sk RCTRL
&trans            &trans  &trans  &trans        &trans    &trans         &mm_bs     &mm_mya    &kp N7   &mm_rya  &kp RS(DOT)    &sk RSHFT
&to L_MOUSE       &trans  &trans  &kp LS(INT5)  &kp INT5  &kp LANG1      &mm_enter  &mm_space                                   &sk RALT
            >;

            sensor-bindings = <&ROTATE SCRL_DOWN SCRL_UP>;
        };

        QWERTY_RIGHT {   // Layer 1
            bindings = <
&trans  &trans  &trans  &trans  &trans                         &kp U      &kp I      &kp O       &kp P          &kp Y
&trans  &trans  &trans  &trans  &trans  &trans      &kp H      &kp J      &kp K      &kp L       &kp BACKSPACE  &kp RCTRL
&none   &trans  &trans  &trans  &trans  &trans      &kp N      &kp M      &kp COMMA  &kp PERIOD  &none          &kp RSHFT
&trans  &trans  &trans  &trans  &trans  &trans      &kp ENTER  &kp SPACE                                        &to_coffee
            >;
        };

        QWERTY_LEFT {    // Layer 2
            bindings = <
&trans  &trans  &trans  &trans  &trans                         &kp R      &kp E  &kp W  &kp Q  &kp T
&trans  &trans  &trans  &trans  &trans  &trans      &kp G      &kp F      &kp D  &kp S  &kp A  &kp RCTRL
&none   &trans  &trans  &trans  &trans  &trans      &kp B      &kp V      &kp C  &kp X  &kp Z  &kp RSHFT
&trans  &trans  &trans  &trans  &trans  &trans      &kp ENTER  &kp SPACE                       &to_coffee
            >;
        };

        NUMBER {         // Layer 3
            bindings = <
&trans  &trans  &trans  &trans  &trans                             &kp NUMBER_7  &kp NUMBER_8  &kp NUMBER_9  &kp NUMBER_0  &ht_kp MINUS PLUS
&trans  &trans  &trans  &trans  &trans  &trans      &to L_SIMBOL   &kp NUMBER_4  &kp NUMBER_5  &kp NUMBER_6  &kp PERIOD    &kp EQUAL
&trans  &trans  &trans  &trans  &trans  &trans      &kp BACKSPACE  &kp NUMBER_1  &kp NUMBER_2  &kp NUMBER_3  &kp SLASH     &kp LS(INT5)
&trans  &trans  &trans  &trans  &trans  &trans      &kp ENTER      &kp SPACE                                               &to_coffee
            >;
        };

        SIMBOL {         // Layer 4
            bindings = <
&trans  &trans  &trans  &trans  &trans                           &kp CARET         &kp AMPERSAND      &kp TILDE       &kp LEFT_PARENTHESIS  &kp RIGHT_PARENTHESIS
&trans  &trans  &trans  &trans  &trans  &trans      &to L_NUMBER &kp EXCLAMATION   &kp AT_SIGN        &kp HASH        &kp DOLLAR            &kp PERCENT
&trans  &trans  &trans  &trans  &trans  &trans      &kp PIPE     &kp LEFT_BRACKET  &kp RIGHT_BRACKET  &kp LEFT_BRACE  &kp RIGHT_BRACE       &kp UNDERSCORE
&trans  &trans  &trans  &trans  &trans  &trans      &kp ENTER    &kp SPACE                                                                  &to_coffee
            >;
        };

        FUNCTION {       // Layer 5 🟥🟥🟥 未配置 🟥🟥🟥
            bindings = <
&kp F1   &kp F2  &kp F3  &kp F4  &kp F5                       &kp F1  &kp F2  &kp F3   &kp F4   &kp F5
&kp F6   &kp F7  &kp F8  &kp F9  &kp F10  &trans      &trans  &kp F6  &kp F7  &kp F8   &kp F9   &kp F10
&kp F11  &trans  &trans  &trans  &trans   &trans      &trans  &trans  &trans  &kp F11  &kp F12  &kp F13
&kp F12  &trans  &trans  &trans  &trans   &trans      &trans  &trans                            &to_coffee
            >;
        };

        TRACKBALL {      // Layer 6
            bindings = <
&trans              &trans     &kp LC(PAGE_UP)  &kp LC(PAGE_DOWN)  &kp LC(W)                                 &kp LC(LS(TAB))  &trans     &kp LC(TAB)  &trans        &trans 
&lt L_SCROLL SPACE  &kp SPACE  &mkp LCLK        &mkp RCLK          &mkp MCLK  &mkp RCLK      &msc SCRL_UP    &mkp LCLK        &mkp MCLK  &mkp RCLK    &mo L_SCROLL  &trans
&trans              &trans     &trans           &trans             &trans     &mkp LCLK      &msc SCRL_DOWN  &mkp MB4         &mkp MB5   &kp LC(W)    &trans        &trans
&trans              &trans     &trans           &trans             &trans     &trans         &trans          &trans                                                 &trans
            >;
        };

        SCROLL {         // Layer 7
            bindings = <
&trans  &trans  &trans  &trans  &trans                      &trans  &trans  &trans  &trans  &trans
&trans  &trans  &trans  &trans  &trans  &trans      &trans  &trans  &trans  &trans  &trans  &trans
&none   &trans  &trans  &trans  &trans  &trans      &trans  &trans  &trans  &trans  &trans  &trans
&trans  &trans  &trans  &trans  &trans  &trans      &trans  &trans                          &trans
            >;
        };

        BT_SETTING {     // Layer 8
            bindings = <
&to L_COFFEE  &trans        &trans        &trans        &trans                                    &bt BT_SEL 0  &bt BT_SEL 1  &bt BT_SEL 2  &bt BT_SEL 3  &bt BT_SEL 4
&trans        &trans        &trans        &trans        &trans        &trans      &studio_unlock  &trans        &trans        &trans        &trans        &trans
&trans        &kp NUMBER_1  &kp NUMBER_2  &kp NUMBER_3  &kp NUMBER_4  &trans      &bootloader     &trans        &trans        &trans        &bt BT_CLR    &bt BT_CLR_ALL
&trans        &trans        &trans        &trans        &trans        &trans      &trans          &trans                                                  &to_coffee
            >;
        };

    // マウスレイヤー

        MOUSE {          // Layer 9
            bindings = <
&trans  &trans  &trans  &trans  &trans                         &kp LC(LS(TAB))  &mmv MOVE_UP    &kp LC(TAB)      &msc SCRL_LEFT    &msc SCRL_RIGHT
&trans  &trans  &trans  &trans  &trans  &trans      &trans     &mmv MOVE_LEFT   &mmv MOVE_DOWN  &mmv MOVE_RIGHT  &mo L_MOUSE_FAST  &msc SCRL_UP
&none   &trans  &trans  &trans  &trans  &trans      &mkp MCLK  &mkp MB4         &mkp MB5        &trans           &mo L_MOUSE_SLOW  &msc SCRL_DOWN
&trans  &trans  &trans  &trans  &trans  &trans      &mkp RCLK                   &mkp LCLK                                          &to_coffee
            >;
        };

        MOUSE_SLOW {     // Layer 10
            bindings = <
&trans  &trans  &trans  &trans  &trans                      &trans          &mmv SLOW_UP    &trans           &trans  &trans
&trans  &trans  &trans  &trans  &trans  &trans      &trans  &mmv SLOW_LEFT  &mmv SLOW_DOWN  &mmv SLOW_RIGHT  &trans  &trans
&trans  &trans  &trans  &trans  &trans  &trans      &trans  &trans          &trans          &trans           &trans  &trans
&trans  &trans  &trans  &trans  &trans  &trans      &trans  &trans                                           &trans
            >;
        };

        MOUSE_FAST {    // Layer 11
            bindings = <
&trans  &trans  &trans  &trans  &trans                      &trans          &mmv FAST_UP    &trans           &trans  &trans
&trans  &trans  &trans  &trans  &trans  &trans      &trans  &mmv FAST_LEFT  &mmv FAST_DOWN  &mmv FAST_RIGHT  &trans  &trans
&trans  &trans  &trans  &trans  &trans  &trans      &trans  &trans          &trans          &trans           &trans  &trans
&trans  &trans  &trans  &trans  &trans  &trans      &trans  &trans                                                   &trans
            >;
        };

    };
};
